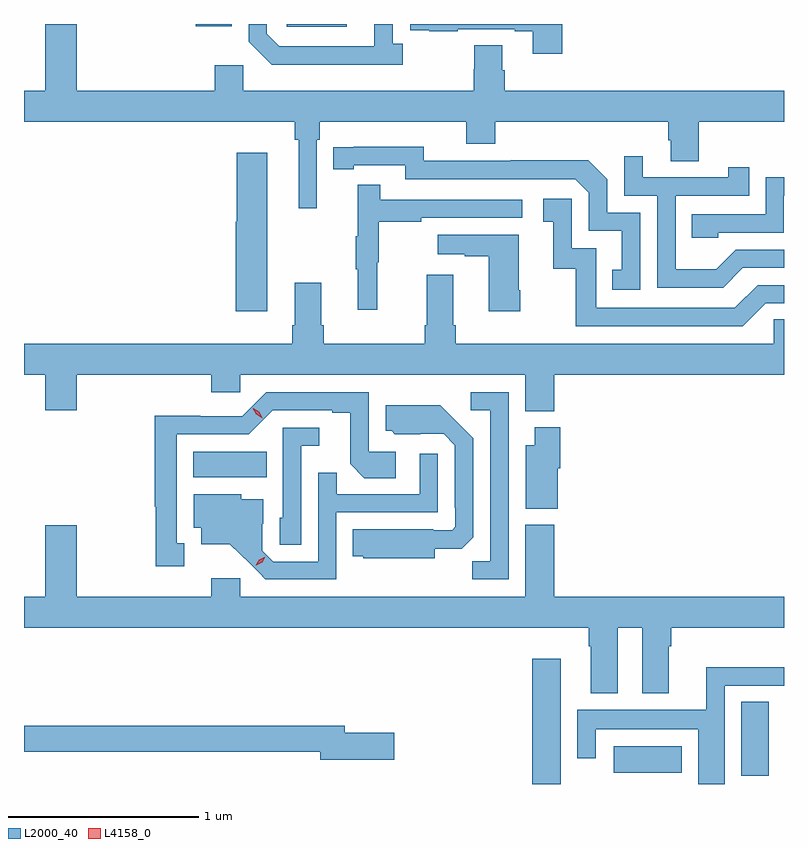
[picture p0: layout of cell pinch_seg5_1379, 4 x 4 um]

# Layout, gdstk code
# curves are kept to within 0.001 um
import gdstk
lib = gdstk.Library(unit=1e-6, precision=1e-09)
def R(c, l, rs):  # rectangles x0, y0, x1, y1
    for r in rs: c.add(gdstk.rectangle(r[:2], r[2:], *l))
def P(c, l, *ps):  # polygons
    for p in ps: c.add(gdstk.Polygon(p, *l))
L2000_40 = (2000, 40)
L4158_0 = (4158, 0)

pinch_seg5_1379 = lib.new_cell('pinch_seg5_1379')
R(pinch_seg5_1379, L2000_40, [(167.57,899.894,167.719,900.553), (168.671,899.938,168.814,900.326), (168,899.954,168.358,900.094), (165.785,901.508,166.172,901.642), (166.278,903.879,166.594,903.894), (165.8,903.881,165.988,903.894)])
P(pinch_seg5_1379, L2000_40, [(166.437,903.284),(166.451,903.284),(166.451,903.38),(167.222,903.38),(167.222,903.263),(167.375,903.263),(167.375,903.38),(168.287,903.38),(168.287,903.282),(168.299,903.282),(168.299,903.172),(168.447,903.172),(168.447,903.38),(168.895,903.38),(168.895,903.544),(167.426,903.544),(167.426,903.65),(167.413,903.65),(167.413,903.782),(167.266,903.782),(167.266,903.657),(167.261,903.657),(167.261,903.544),(166.05,903.544),(166.05,903.676),(165.899,903.676),(165.899,903.544),(165.172,903.544),(165.172,903.894),(165.008,903.894),(165.008,903.544),(164.895,903.544),(164.895,903.38),(166.321,903.38),(166.321,903.284),(166.34,903.284),(166.34,902.925),(166.437,902.925)],
  [(167.729,903.894),(166.927,903.894),(166.927,903.861),(167.029,903.861),(167.029,903.855),(167.177,903.855),(167.177,903.867),(167.477,903.867),(167.477,903.855),(167.573,903.855),(167.573,903.738),(167.729,903.738)],
  [(166.888,903.79),(166.836,903.79),(166.836,903.894),(166.739,903.894),(166.739,903.777),(166.239,903.777),(166.173,903.843),(166.173,903.894),(166.077,903.894),(166.077,903.801),(166.198,903.68),(166.888,903.68)],
  [(168.138,902.901),(167.964,902.901),(167.964,903.078),(167.866,903.176),(167.458,903.176),(167.458,903.174),(166.998,903.174),(166.998,903.247),(166.522,903.246),(166.522,903.13),(166.63,903.13),(166.63,903.15),(166.902,903.15),(166.902,903.078),(167.796,903.078),(167.868,903.006),(167.868,902.805),(168.041,902.805),(168.041,902.601),(167.992,902.601),(167.992,902.496),(168.138,902.496)],
  [(166.174,903.217),(166.016,903.217),(166.016,902.853),(166.01,902.853),(166.01,902.382),(166.174,902.382)],
  [(168.679,902.61),(168.895,902.61),(168.895,902.706),(168.642,902.706),(168.538,902.602),(168.324,902.602),(168.324,902.991),(168.713,902.991),(168.713,903.139),(168.602,903.139),(168.602,903.087),(168.151,903.087),(168.151,903.199),(168.054,903.199),(168.054,902.991),(168.228,902.991),(168.228,902.505),(168.574,902.505)],
  [(168.549,902.796),(168.894,902.796),(168.894,902.991),(168.895,902.991),(168.895,903.087),(168.798,903.087),(168.798,902.892),(168.409,902.892),(168.409,902.769),(168.549,902.769)],
  [(166.754,902.64),(166.762,902.64),(166.762,902.854),(166.985,902.854),(166.985,902.874),(167.518,902.874),(167.518,902.97),(166.769,902.97),(166.769,903.049),(166.652,903.049),(166.652,902.777),(166.641,902.777),(166.641,902.603),(166.652,902.603),(166.652,902.391),(166.754,902.391)],
  [(168.798,902.424),(168.895,902.424),(168.895,902.52),(168.756,902.52),(168.636,902.4),(167.907,902.4),(167.907,902.715),(167.778,902.715),(167.778,902.974),(167.628,902.974),(167.628,902.853),(167.681,902.853),(167.681,902.607),(167.799,902.607),(167.799,902.304),(168.678,902.304)],
  [(167.508,902.494),(167.5,902.494),(167.5,902.785),(167.073,902.785),(167.073,902.681),(167.216,902.681),(167.216,902.671),(167.342,902.671),(167.342,902.382),(167.508,902.382)],
  [(167.687,902.048),(168.895,902.048),(168.895,902.339),(168.84,902.339),(168.84,902.212),(167.168,902.212),(167.168,902.308),(167.155,902.308),(167.155,902.575),(167.015,902.575),(167.015,902.308),(167.003,902.308),(167.003,902.212),(166.472,902.212),(166.472,902.308),(166.459,902.308),(166.459,902.533),(166.319,902.533),(166.319,902.308),(166.307,902.308),(166.307,902.212),(164.895,902.212),(164.895,902.048),(165.008,902.048),(165.008,901.86),(165.172,901.86),(165.172,902.048),(165.881,902.048),(165.881,901.955),(166.032,901.955),(166.032,902.048),(167.534,902.048),(167.534,901.856),(167.687,901.856)],
  [(167.445,901.956),(167.247,901.956),(167.247,901.86),(167.349,901.86),(167.349,901.067),(167.254,901.067),(167.254,900.972),(167.445,900.972)],
  [(165.739,901.161),(165.7,901.161),(165.7,901.734),(166.077,901.734),(166.203,901.86),(166.517,901.86),(166.517,901.848),(166.611,901.848),(166.611,901.58),(166.687,901.504),(166.852,901.504),(166.852,901.644),(166.71,901.644),(166.71,901.956),(166.17,901.956),(166.044,901.83),(165.822,901.83),(165.822,901.832),(165.582,901.832),(165.582,901.353),(165.589,901.353),(165.589,901.041),(165.739,901.041)],
  [(167.056,901.133),(167.2,901.133),(167.259,901.192),(167.259,901.714),(167.087,901.888),(166.799,901.888),(166.799,901.752),(166.83,901.752),(166.846,901.736),(167.103,901.737),(167.163,901.677),(167.163,901.348),(167.166,901.348),(167.166,901.248),(167.148,901.23),(167.048,901.23),(167.048,901.234),(166.624,901.234),(166.624,901.094),(166.68,901.094),(166.68,901.082),(167.056,901.082)],
  [(167.704,901.557),(167.717,901.557),(167.717,901.771),(167.582,901.771),(167.582,901.678),(167.537,901.678),(167.537,901.343),(167.704,901.343)],
  [(166.353,901.673),(166.45,901.673),(166.45,901.77),(166.257,901.77),(166.257,901.296),(166.242,901.296),(166.242,901.153),(166.353,901.153)],
  [(166.539,901.323),(167.073,901.323),(167.073,901.633),(166.977,901.633),(166.977,901.419),(166.541,901.419),(166.541,901.532),(166.443,901.532),(166.443,901.065),(166.206,901.065),(166.149,901.122),(166.149,901.264),(166.153,901.264),(166.153,901.393),(166.038,901.393),(166.038,901.42),(165.788,901.42),(165.788,901.244),(165.827,901.244),(165.827,901.157),(165.979,901.157),(166.166,900.972),(166.539,900.972)],
  [(168.019,900.716),(168.149,900.716),(168.149,900.371),(168.289,900.371),(168.289,900.62),(168.302,900.62),(168.302,900.716),(168.895,900.716),(168.895,900.88),(167.687,900.88),(167.687,901.258),(167.534,901.258),(167.534,900.88),(166.032,900.88),(166.032,900.976),(165.881,900.976),(165.881,900.88),(165.172,900.88),(165.172,901.255),(165.008,901.255),(165.008,900.88),(164.895,900.88),(164.895,900.716),(167.867,900.716),(167.867,900.62),(167.879,900.62),(167.879,900.371),(168.019,900.371)],
  [(168.583,900.411),(168.895,900.411),(168.895,900.509),(168.485,900.509),(168.485,900.286),(167.808,900.286),(167.808,900.03),(167.904,900.03),(167.904,900.182),(168.443,900.182),(168.443,899.894),(168.583,899.894)],
  [(166.843,900.164),(166.582,900.164),(166.582,900.2),(164.895,900.2),(164.895,900.064),(166.454,900.064),(166.454,900.022),(166.843,900.022)])
P(pinch_seg5_1379, L4158_0, [(166.116,901.045),(166.116,901.045),(166.134,901.074),(166.165,901.089),(166.165,901.089),(166.165,901.089),(166.148,901.06),(166.117,901.045)],
  [(166.15,901.82),(166.118,901.839),(166.1,901.872),(166.1,901.872),(166.101,901.872),(166.133,901.853),(166.15,901.821),(166.15,901.82)])

lib.write_gds('pinch_seg5_1379.gds')
